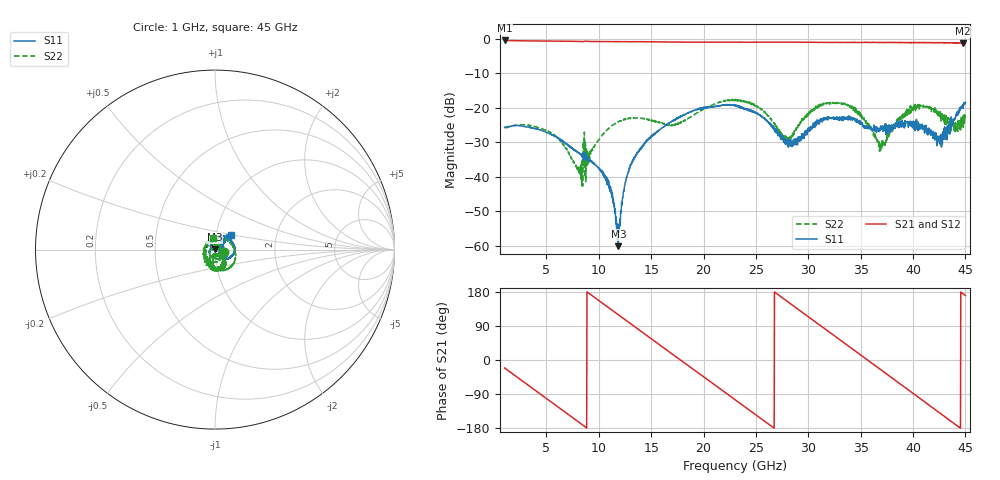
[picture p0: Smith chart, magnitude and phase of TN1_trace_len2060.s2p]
!Keysight Technologies,N5247B,MY61255062,A.19.80.06
!Date: Thursday, May 21, 2026 12:13:18
!Correction: S11(Cdelta 2-Port  )
!S21(Cdelta 2-Port  )
!S12(Cdelta 2-Port  )
!S22(Cdelta 2-Port  )
!S2P File: Measurements: S11, S21, S12, S22:
# Hz S  dB  R 50
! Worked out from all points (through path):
!   1601 points, 1 GHz to 45 GHz, reference 50 ohm
!   highest |S21| = -0.47 dB at 1 GHz (marker M1); lowest = -1.2 dB at 44.78 GHz (marker M2)
!   group delay of S21, straight-line fit = 56 ps
!   lowest |S11| = -60.1 dB at 11.86 GHz (marker M3), VSWR 1.00, Z = 49.9 + j0.0843 ohm
!   |S11| at or under -10 dB: start of sweep to end of sweep
!   |S22| runs from -42.7 to -17.6 dB; largest |S21 - S12| = 0.016
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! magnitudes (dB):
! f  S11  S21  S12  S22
! 1 GHz  -25.7  -0.5  -0.5  -25.6
! 5.317 GHz  -27.5  -0.7  -0.7  -27.1
! 8.342 GHz  -33.8  -0.8  -0.8  -35.9
! 10.54 GHz  -39.9  -0.8  -0.8  -27.2
! 11.15 GHz  -44.7  -0.8  -0.8  -25.5
! 11.86 GHz  -60.1  -0.8  -0.8  -24.1
! 12.47 GHz  -42.6  -0.8  -0.8  -23.2
! 13.04 GHz  -36.7  -0.8  -0.8  -23.1
! 15.69 GHz  -26.5  -0.9  -0.9  -24.2
! 19.23 GHz  -20.6  -1.0  -1.0  -21.7
! 23 GHz  -19.3  -1.0  -1.0  -17.6
! 25.53 GHz  -22.4  -1.0  -1.0  -20.6
! 27.95 GHz  -29.5  -1.0  -1.0  -28.6
! 30.34 GHz  -26.2  -1.0  -1.0  -20.5
! 33.51 GHz  -23.2  -1.0  -1.1  -19.1
! 36.78 GHz  -26.7  -1.1  -1.1  -31.9
! 37.69 GHz  -26.4  -1.0  -1.1  -28.7
! 40.33 GHz  -23.3  -1.1  -1.1  -20.1
! 42.5 GHz  -28.4  -1.1  -1.2  -21.2
! 44.04 GHz  -22.7  -1.1  -1.2  -24.2
! 44.78 GHz  -20.2  -1.2  -1.2  -23.0
! 45 GHz  -18.4  -1.2  -1.2  -23.6
